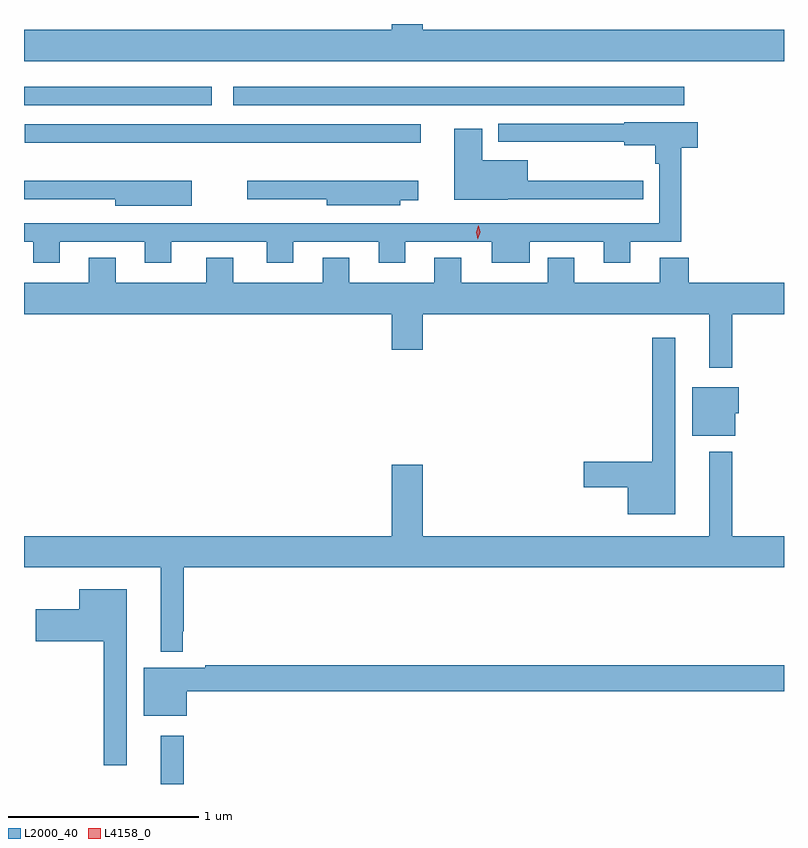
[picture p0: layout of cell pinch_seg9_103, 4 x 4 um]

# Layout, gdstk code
import gdstk
lib = gdstk.Library(unit=1e-6, precision=1e-09)
def R(c, l, rs):  # rectangles x0, y0, x1, y1
    for r in rs: c.add(gdstk.rectangle(r[:2], r[2:], *l))
def P(c, l, *ps):  # polygons
    for p in ps: c.add(gdstk.Polygon(p, *l))
L2000_40 = (2000, 40)
L4158_0 = (4158, 0)

pinch_seg9_103 = lib.new_cell('pinch_seg9_103')
R(pinch_seg9_103, L2000_40, [(1074.881,1192.615,1075.003,1192.87), (1074.165,1195.991,1076.248,1196.088), (1074.161,1196.187,1075.15,1196.284), (1075.263,1196.187,1077.637,1196.284)])
P(pinch_seg9_103, L2000_40, [(1078.161,1196.584),(1076.26,1196.584),(1076.26,1196.615),(1076.096,1196.615),(1076.096,1196.584),(1074.161,1196.584),(1074.161,1196.42),(1078.161,1196.42)],
  [(1074.349,1195.47),(1074.797,1195.47),(1074.797,1195.358),(1074.937,1195.358),(1074.937,1195.47),(1075.439,1195.47),(1075.439,1195.358),(1075.579,1195.358),(1075.579,1195.47),(1076.027,1195.47),(1076.027,1195.358),(1076.167,1195.358),(1076.167,1195.47),(1076.624,1195.47),(1076.624,1195.358),(1076.824,1195.358),(1076.824,1195.47),(1077.212,1195.47),(1077.212,1195.358),(1077.352,1195.358),(1077.352,1195.47),(1077.62,1195.47),(1077.62,1195.964),(1077.706,1195.964),(1077.706,1196.098),(1077.321,1196.098),(1077.321,1196.091),(1076.657,1196.091),(1076.657,1195.995),(1076.908,1195.995),(1076.908,1195.994),(1077.321,1195.994),(1077.321,1195.976),(1077.484,1195.976),(1077.484,1195.88),(1077.504,1195.88),(1077.504,1195.566),(1074.161,1195.566),(1074.161,1195.47),(1074.209,1195.47),(1074.209,1195.358),(1074.349,1195.358)],
  [(1076.708,1195.692),(1077.308,1195.692),(1077.308,1195.693),(1077.419,1195.693),(1077.419,1195.79),(1076.812,1195.79),(1076.812,1195.897),(1076.572,1195.897),(1076.572,1196.065),(1076.426,1196.065),(1076.426,1195.691),(1076.708,1195.691)],
  [(1075.045,1195.79),(1074.161,1195.79),(1074.161,1195.692),(1074.641,1195.692),(1074.641,1195.658),(1075.045,1195.658)],
  [(1076.142,1195.688),(1076.236,1195.688),(1076.236,1195.789),(1075.858,1195.789),(1075.858,1195.79),(1075.335,1195.79),(1075.335,1195.692),(1075.754,1195.692),(1075.754,1195.661),(1076.142,1195.661)],
  [(1077.506,1195.385),(1077.506,1195.252),(1077.058,1195.252),(1077.058,1195.385),(1076.918,1195.385),(1076.918,1195.252),(1076.461,1195.252),(1076.461,1195.385),(1076.321,1195.385),(1076.321,1195.252),(1075.873,1195.252),(1075.873,1195.385),(1075.733,1195.385),(1075.733,1195.252),(1075.261,1195.252),(1075.261,1195.385),(1075.121,1195.385),(1075.121,1195.252),(1074.643,1195.252),(1074.643,1195.385),(1074.503,1195.385),(1074.503,1195.252),(1074.161,1195.252),(1074.161,1195.088),(1076.096,1195.088),(1076.096,1194.9),(1076.26,1194.9),(1076.26,1195.088),(1077.767,1195.088),(1077.767,1194.807),(1077.889,1194.807),(1077.889,1195.088),(1078.161,1195.088),(1078.161,1195.252),(1077.659,1195.252),(1077.659,1195.385)],
  [(1077.589,1194.964),(1077.468,1194.964),(1077.468,1194.311),(1077.108,1194.311),(1077.108,1194.176),(1077.338,1194.176),(1077.338,1194.035),(1077.589,1194.035)],
  [(1077.904,1194.567),(1077.922,1194.567),(1077.922,1194.703),(1077.677,1194.703),(1077.677,1194.449),(1077.904,1194.449)],
  [(1074.996,1193.419),(1075.003,1193.419),(1075.003,1193.756),(1078.161,1193.756),(1078.161,1193.92),(1077.889,1193.92),(1077.889,1194.364),(1077.767,1194.364),(1077.767,1193.92),(1076.26,1193.92),(1076.26,1194.295),(1076.096,1194.295),(1076.096,1193.92),(1074.161,1193.92),(1074.161,1193.756),(1074.881,1193.756),(1074.881,1193.312),(1074.996,1193.312)],
  [(1074.703,1193.641),(1074.452,1193.641),(1074.452,1193.536),(1074.222,1193.536),(1074.222,1193.366),(1074.582,1193.366),(1074.582,1192.713),(1074.703,1192.713)],
  [(1075.018,1193.104),(1078.161,1193.104),(1078.161,1193.24),(1075.114,1193.24),(1075.114,1193.227),(1074.791,1193.227),(1074.791,1192.973),(1075.018,1192.973)])
P(pinch_seg9_103, L4158_0, [(1076.55,1195.483),(1076.55,1195.483),(1076.542,1195.519),(1076.553,1195.553),(1076.554,1195.553),(1076.554,1195.553),(1076.562,1195.518),(1076.55,1195.483)])

lib.write_gds('pinch_seg9_103.gds')
